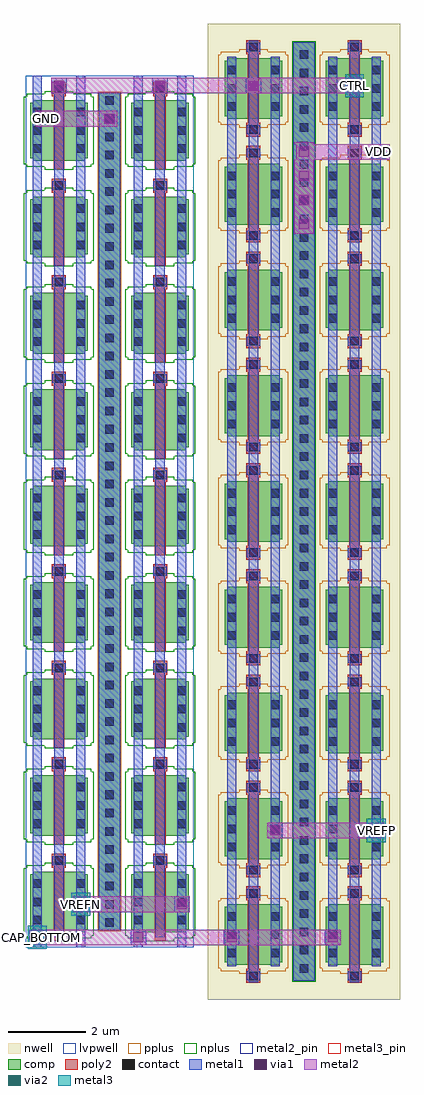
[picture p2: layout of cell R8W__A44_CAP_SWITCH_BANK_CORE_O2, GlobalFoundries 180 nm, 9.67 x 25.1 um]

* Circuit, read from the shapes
.subckt R8W__A44_CAP_SWITCH_BANK_CORE_O2 CAP_BOTTOM CTRL GND VDD VREFN VREFP
XM1 VREFN CTRL CAP_BOTTOM GND nfet_03v3 w=1.56u l=0.28u m=18
XM2 VREFP CTRL CAP_BOTTOM VDD pfet_03v3 w=1.56u l=0.28u m=18
.ends

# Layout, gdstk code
import gdstk
lib = gdstk.Library(unit=1e-6, precision=1e-09)
def R(c, l, rs):  # rectangles x0, y0, x1, y1
    for r in rs: c.add(gdstk.rectangle(r[:2], r[2:], *l))
def A(c, l, x, y, w, h, nx, ny, dx, dy):  # array of equal rectangles
    R(c, l, [(x+i*dx, y+j*dy, x+i*dx+w, y+j*dy+h) for i in range(nx) for j in range(ny)])
nwell = (21, 0)
comp = (22, 0)
poly2 = (30, 0)
pplus = (31, 0)
nplus = (32, 0)
contact = (33, 0)
metal1 = (34, 0)
via1 = (35, 0)
metal2 = (36, 0)
metal2_pin = (36, 10)
via2 = (38, 0)
metal3 = (42, 0)
metal3_pin = (42, 10)
lvpwell = (204, 0)

r8w__nfet_03v3_atey9d = lib.new_cell('R8W__nfet_03v3_ATEY9D')
A(r8w__nfet_03v3_atey9d, comp, -0.74, -10.75, 1.48, 1.42, 1, 9, 0, 2.48)
R(r8w__nfet_03v3_atey9d, comp, [(-0.675,-10.82,0.675,-10.75), (-0.675,-9.33,0.675,-9.26), (-0.675,-8.34,0.675,-8.27), (-0.675,-6.85,0.675,-6.78), (-0.675,-5.86,0.675,-5.79), (-0.675,-4.37,0.675,-4.3), (-0.675,-3.38,0.675,-3.31), (-0.675,-1.89,0.675,-1.82), (-0.675,-0.9,0.675,-0.83), (-0.675,0.59,0.675,0.66), (-0.675,1.58,0.675,1.65), (-0.675,3.07,0.675,3.14), (-0.675,4.06,0.675,4.13), (-0.675,5.55,0.675,5.62), (-0.675,6.54,0.675,6.61), (-0.675,8.03,0.675,8.1), (-0.675,9.02,0.675,9.09), (-0.675,10.51,0.675,10.58)])
A(r8w__nfet_03v3_atey9d, poly2, -0.14, -11.04, 0.28, 1.88, 1, 9, 0, 2.48)
A(r8w__nfet_03v3_atey9d, poly2, -0.18, -9.16, 0.36, 0.36, 1, 9, 0, 2.48)
A(r8w__nfet_03v3_atey9d, nplus, -0.9, -10.91, 1.8, 1.74, 1, 9, 0, 2.48)
R(r8w__nfet_03v3_atey9d, nplus, [(-0.37,-11.05,0.37,-10.98), (-0.835,-10.98,0.835,-10.91), (-0.835,-9.17,0.835,-9.1), (-0.37,-9.1,0.37,-9.03), (-0.37,-8.57,0.37,-8.5), (-0.835,-8.5,0.835,-8.43), (-0.835,-6.69,0.835,-6.62), (-0.37,-6.62,0.37,-6.55), (-0.37,-6.09,0.37,-6.02), (-0.835,-6.02,0.835,-5.95), (-0.835,-4.21,0.835,-4.14), (-0.37,-4.14,0.37,-4.07), (-0.37,-3.61,0.37,-3.54), (-0.835,-3.54,0.835,-3.47), (-0.835,-1.73,0.835,-1.66), (-0.37,-1.66,0.37,-1.59), (-0.37,-1.13,0.37,-1.06), (-0.835,-1.06,0.835,-0.99), (-0.835,0.75,0.835,0.82), (-0.37,0.82,0.37,0.89), (-0.37,1.35,0.37,1.42), (-0.835,1.42,0.835,1.49), (-0.835,3.23,0.835,3.3), (-0.37,3.3,0.37,3.37), (-0.37,3.83,0.37,3.9), (-0.835,3.9,0.835,3.97), (-0.835,5.71,0.835,5.78), (-0.37,5.78,0.37,5.85), (-0.37,6.31,0.37,6.38), (-0.835,6.38,0.835,6.45), (-0.835,8.19,0.835,8.26), (-0.37,8.26,0.37,8.33), (-0.37,8.79,0.37,8.86), (-0.835,8.86,0.835,8.93), (-0.835,10.67,0.835,10.74), (-0.37,10.74,0.37,10.81)])
A(r8w__nfet_03v3_atey9d, contact, -0.67, -10.62, 0.22, 0.22, 1, 3, 0, 0.47)
A(r8w__nfet_03v3_atey9d, contact, 0.45, -10.62, 0.22, 0.22, 1, 3, 0, 0.47)
A(r8w__nfet_03v3_atey9d, contact, -0.11, -9.09, 0.22, 0.22, 1, 9, 0, 2.48)
A(r8w__nfet_03v3_atey9d, contact, -0.67, -8.14, 0.22, 0.22, 1, 3, 0, 0.47)
A(r8w__nfet_03v3_atey9d, contact, 0.45, -8.14, 0.22, 0.22, 1, 3, 0, 0.47)
A(r8w__nfet_03v3_atey9d, contact, -0.67, -5.66, 0.22, 0.22, 1, 3, 0, 0.47)
A(r8w__nfet_03v3_atey9d, contact, 0.45, -5.66, 0.22, 0.22, 1, 3, 0, 0.47)
A(r8w__nfet_03v3_atey9d, contact, -0.67, -3.18, 0.22, 0.22, 1, 3, 0, 0.47)
A(r8w__nfet_03v3_atey9d, contact, 0.45, -3.18, 0.22, 0.22, 1, 3, 0, 0.47)
A(r8w__nfet_03v3_atey9d, contact, -0.67, -0.7, 0.22, 0.22, 1, 3, 0, 0.47)
A(r8w__nfet_03v3_atey9d, contact, 0.45, -0.7, 0.22, 0.22, 1, 3, 0, 0.47)
A(r8w__nfet_03v3_atey9d, contact, -0.67, 1.78, 0.22, 0.22, 1, 3, 0, 0.47)
A(r8w__nfet_03v3_atey9d, contact, 0.45, 1.78, 0.22, 0.22, 1, 3, 0, 0.47)
A(r8w__nfet_03v3_atey9d, contact, -0.67, 4.26, 0.22, 0.22, 1, 3, 0, 0.47)
A(r8w__nfet_03v3_atey9d, contact, 0.45, 4.26, 0.22, 0.22, 1, 3, 0, 0.47)
A(r8w__nfet_03v3_atey9d, contact, -0.67, 6.74, 0.22, 0.22, 1, 3, 0, 0.47)
A(r8w__nfet_03v3_atey9d, contact, 0.45, 6.74, 0.22, 0.22, 1, 3, 0, 0.47)
A(r8w__nfet_03v3_atey9d, contact, -0.67, 9.22, 0.22, 0.22, 1, 3, 0, 0.47)
A(r8w__nfet_03v3_atey9d, contact, 0.45, 9.22, 0.22, 0.22, 1, 3, 0, 0.47)
A(r8w__nfet_03v3_atey9d, metal1, -0.675, -10.74, 0.23, 1.4, 1, 9, 0, 2.48)
A(r8w__nfet_03v3_atey9d, metal1, 0.445, -10.74, 0.23, 1.4, 1, 9, 0, 2.48)
A(r8w__nfet_03v3_atey9d, metal1, -0.17, -9.095, 0.34, 0.23, 1, 9, 0, 2.48)
R(r8w__nfet_03v3_atey9d, lvpwell, [(-0.86,-11.16,0.86,11.16)])

r8w__a44_g6_nfet_m9_guar = lib.new_cell('R8W__A44_G6_NFET_M9_GUARD0_R0')
r8w__a44_g6_nfet_m9_guar.add(gdstk.Reference(r8w__nfet_03v3_atey9d, (0,0)))

r8w__pfet_03v3_xnc3g5 = lib.new_cell('R8W__pfet_03v3_XNC3G5')
R(r8w__pfet_03v3_xnc3g5, nwell, [(-1.17,-12.55,1.17,12.55)])
A(r8w__pfet_03v3_xnc3g5, comp, -0.74, -11.59, 1.48, 1.42, 1, 9, 0, 2.72)
R(r8w__pfet_03v3_xnc3g5, comp, [(-0.675,-11.66,0.675,-11.59), (-0.675,-10.17,0.675,-10.1), (-0.675,-8.94,0.675,-8.87), (-0.675,-7.45,0.675,-7.38), (-0.675,-6.22,0.675,-6.15), (-0.675,-4.73,0.675,-4.66), (-0.675,-3.5,0.675,-3.43), (-0.675,-2.01,0.675,-1.94), (-0.675,-0.78,0.675,-0.71), (-0.675,0.71,0.675,0.78), (-0.675,1.94,0.675,2.01), (-0.675,3.43,0.675,3.5), (-0.675,4.66,0.675,4.73), (-0.675,6.15,0.675,6.22), (-0.675,7.38,0.675,7.45), (-0.675,8.87,0.675,8.94), (-0.675,10.1,0.675,10.17), (-0.675,11.59,0.675,11.66)])
A(r8w__pfet_03v3_xnc3g5, poly2, -0.14, -11.76, 0.28, 1.76, 1, 9, 0, 2.72)
R(r8w__pfet_03v3_xnc3g5, poly2, [(-0.18,-12.12,0.18,-11.76), (-0.18,-10,0.18,-9.64), (-0.18,-9.4,0.18,-9.04), (-0.18,-7.28,0.18,-6.92), (-0.18,-6.68,0.18,-6.32), (-0.18,-4.56,0.18,-4.2), (-0.18,-3.96,0.18,-3.6), (-0.18,-1.84,0.18,-1.48), (-0.18,-1.24,0.18,-0.88), (-0.18,0.88,0.18,1.24), (-0.18,1.48,0.18,1.84), (-0.18,3.6,0.18,3.96), (-0.18,4.2,0.18,4.56), (-0.18,6.32,0.18,6.68), (-0.18,6.92,0.18,7.28), (-0.18,9.04,0.18,9.4), (-0.18,9.64,0.18,10), (-0.18,11.76,0.18,12.12)])
A(r8w__pfet_03v3_xnc3g5, pplus, -0.9, -11.75, 1.8, 1.74, 1, 9, 0, 2.72)
R(r8w__pfet_03v3_xnc3g5, pplus, [(-0.37,-11.89,0.37,-11.82), (-0.835,-11.82,0.835,-11.75), (-0.835,-10.01,0.835,-9.94), (-0.37,-9.94,0.37,-9.87), (-0.37,-9.17,0.37,-9.1), (-0.835,-9.1,0.835,-9.03), (-0.835,-7.29,0.835,-7.22), (-0.37,-7.22,0.37,-7.15), (-0.37,-6.45,0.37,-6.38), (-0.835,-6.38,0.835,-6.31), (-0.835,-4.57,0.835,-4.5), (-0.37,-4.5,0.37,-4.43), (-0.37,-3.73,0.37,-3.66), (-0.835,-3.66,0.835,-3.59), (-0.835,-1.85,0.835,-1.78), (-0.37,-1.78,0.37,-1.71), (-0.37,-1.01,0.37,-0.94), (-0.835,-0.94,0.835,-0.87), (-0.835,0.87,0.835,0.94), (-0.37,0.94,0.37,1.01), (-0.37,1.71,0.37,1.78), (-0.835,1.78,0.835,1.85), (-0.835,3.59,0.835,3.66), (-0.37,3.66,0.37,3.73), (-0.37,4.43,0.37,4.5), (-0.835,4.5,0.835,4.57), (-0.835,6.31,0.835,6.38), (-0.37,6.38,0.37,6.45), (-0.37,7.15,0.37,7.22), (-0.835,7.22,0.835,7.29), (-0.835,9.03,0.835,9.1), (-0.37,9.1,0.37,9.17), (-0.37,9.87,0.37,9.94), (-0.835,9.94,0.835,10.01), (-0.835,11.75,0.835,11.82), (-0.37,11.82,0.37,11.89)])
A(r8w__pfet_03v3_xnc3g5, contact, -0.67, -11.46, 0.22, 0.22, 1, 3, 0, 0.47)
A(r8w__pfet_03v3_xnc3g5, contact, 0.45, -11.46, 0.22, 0.22, 1, 3, 0, 0.47)
A(r8w__pfet_03v3_xnc3g5, contact, -0.67, -8.74, 0.22, 0.22, 1, 3, 0, 0.47)
A(r8w__pfet_03v3_xnc3g5, contact, 0.45, -8.74, 0.22, 0.22, 1, 3, 0, 0.47)
A(r8w__pfet_03v3_xnc3g5, contact, -0.67, -6.02, 0.22, 0.22, 1, 3, 0, 0.47)
A(r8w__pfet_03v3_xnc3g5, contact, 0.45, -6.02, 0.22, 0.22, 1, 3, 0, 0.47)
A(r8w__pfet_03v3_xnc3g5, contact, -0.67, -3.3, 0.22, 0.22, 1, 3, 0, 0.47)
A(r8w__pfet_03v3_xnc3g5, contact, 0.45, -3.3, 0.22, 0.22, 1, 3, 0, 0.47)
A(r8w__pfet_03v3_xnc3g5, contact, -0.67, -0.58, 0.22, 0.22, 1, 3, 0, 0.47)
A(r8w__pfet_03v3_xnc3g5, contact, 0.45, -0.58, 0.22, 0.22, 1, 3, 0, 0.47)
A(r8w__pfet_03v3_xnc3g5, contact, -0.67, 2.14, 0.22, 0.22, 1, 3, 0, 0.47)
A(r8w__pfet_03v3_xnc3g5, contact, 0.45, 2.14, 0.22, 0.22, 1, 3, 0, 0.47)
A(r8w__pfet_03v3_xnc3g5, contact, -0.67, 4.86, 0.22, 0.22, 1, 3, 0, 0.47)
A(r8w__pfet_03v3_xnc3g5, contact, 0.45, 4.86, 0.22, 0.22, 1, 3, 0, 0.47)
A(r8w__pfet_03v3_xnc3g5, contact, -0.67, 7.58, 0.22, 0.22, 1, 3, 0, 0.47)
A(r8w__pfet_03v3_xnc3g5, contact, 0.45, 7.58, 0.22, 0.22, 1, 3, 0, 0.47)
A(r8w__pfet_03v3_xnc3g5, contact, -0.67, 10.3, 0.22, 0.22, 1, 3, 0, 0.47)
A(r8w__pfet_03v3_xnc3g5, contact, 0.45, 10.3, 0.22, 0.22, 1, 3, 0, 0.47)
R(r8w__pfet_03v3_xnc3g5, contact, [(-0.11,-12.05,0.11,-11.83), (-0.11,-9.93,0.11,-9.71), (-0.11,-9.33,0.11,-9.11), (-0.11,-7.21,0.11,-6.99), (-0.11,-6.61,0.11,-6.39), (-0.11,-4.49,0.11,-4.27), (-0.11,-3.89,0.11,-3.67), (-0.11,-1.77,0.11,-1.55), (-0.11,-1.17,0.11,-0.95), (-0.11,0.95,0.11,1.17), (-0.11,1.55,0.11,1.77), (-0.11,3.67,0.11,3.89), (-0.11,4.27,0.11,4.49), (-0.11,6.39,0.11,6.61), (-0.11,6.99,0.11,7.21), (-0.11,9.11,0.11,9.33), (-0.11,9.71,0.11,9.93), (-0.11,11.83,0.11,12.05)])
A(r8w__pfet_03v3_xnc3g5, metal1, -0.675, -11.58, 0.23, 1.4, 1, 9, 0, 2.72)
A(r8w__pfet_03v3_xnc3g5, metal1, 0.445, -11.58, 0.23, 1.4, 1, 9, 0, 2.72)
R(r8w__pfet_03v3_xnc3g5, metal1, [(-0.17,-12.055,0.17,-11.825), (-0.17,-9.935,0.17,-9.705), (-0.17,-9.335,0.17,-9.105), (-0.17,-7.215,0.17,-6.985), (-0.17,-6.615,0.17,-6.385), (-0.17,-4.495,0.17,-4.265), (-0.17,-3.895,0.17,-3.665), (-0.17,-1.775,0.17,-1.545), (-0.17,-1.175,0.17,-0.945), (-0.17,0.945,0.17,1.175), (-0.17,1.545,0.17,1.775), (-0.17,3.665,0.17,3.895), (-0.17,4.265,0.17,4.495), (-0.17,6.385,0.17,6.615), (-0.17,6.985,0.17,7.215), (-0.17,9.105,0.17,9.335), (-0.17,9.705,0.17,9.935), (-0.17,11.825,0.17,12.055)])

r8w__a44_g6_pfet_m9_guar = lib.new_cell('R8W__A44_G6_PFET_M9_GUARD0_R0')
r8w__a44_g6_pfet_m9_guar.add(gdstk.Reference(r8w__pfet_03v3_xnc3g5, (0,0)))

r8w__a44_cap_switch_bank = lib.new_cell('R8W__A44_CAP_SWITCH_BANK_CORE_O2')
R(r8w__a44_cap_switch_bank, nwell, [(3.83,-12.55,8.77,12.55)])
R(r8w__a44_cap_switch_bank, comp, [(6.02,-12.07,6.58,12.07), (1.02,-10.77,1.58,10.77)])
R(r8w__a44_cap_switch_bank, pplus, [(0.995,-10.795,1.605,10.795)])
R(r8w__a44_cap_switch_bank, nplus, [(5.995,-12.095,6.605,12.095)])
A(r8w__a44_cap_switch_bank, contact, 6.19, -11.86, 0.22, 0.22, 1, 51, 0, 0.47)
A(r8w__a44_cap_switch_bank, contact, 1.19, -10.685, 0.22, 0.22, 1, 46, 0, 0.47)
R(r8w__a44_cap_switch_bank, metal1, [(4.88,-12.1,5.12,10.75), (7.48,-12.1,7.72,10.75), (6.02,-12.07,6.58,12.07), (4.325,-11.7,4.555,-11.15), (5.445,-11.7,5.675,-8.4), (6.925,-11.7,7.155,-11.15), (8.045,-11.7,8.275,-8.4), (-0.675,-11.2,-0.445,-11.15), (0.445,-11.2,0.675,-10.3), (1.925,-11.2,2.155,-11.15), (3.045,-11.2,3.275,-10.3), (-0.76,-11.15,-0.36,-10.75), (1.84,-11.15,2.24,-10.75), (4.24,-11.15,4.64,-10.75), (6.84,-11.15,7.24,-10.75), (-0.12,-10.95,0.12,10.75), (2.48,-10.95,2.72,10.75), (1.02,-10.77,1.58,10.77), (-0.675,-10.75,-0.445,11.2), (1.925,-10.75,2.155,11.2), (4.325,-10.75,4.555,11.7), (6.925,-10.75,7.155,11.7), (0.36,-10.3,0.76,-9.9), (2.96,-10.3,3.36,-9.9), (0.445,-9.9,0.675,11.2), (3.045,-9.9,3.275,11.2), (5.36,-8.4,5.76,-8), (7.96,-8.4,8.36,-8), (5.445,-8,5.675,11.7), (8.045,-8,8.275,11.7), (-0.2,10.75,0.2,11.15), (2.4,10.75,2.8,11.15), (4.8,10.75,5.2,11.15), (7.4,10.75,7.8,11.15), (4.88,11.15,5.12,12.1), (7.48,11.15,7.72,12.1)])
A(r8w__a44_cap_switch_bank, via1, 6.17, 7.26, 0.26, 0.26, 1, 4, 0, 0.62)
R(r8w__a44_cap_switch_bank, via1, [(-0.69,-11.08,-0.43,-10.82), (1.91,-11.08,2.17,-10.82), (4.31,-11.08,4.57,-10.82), (6.91,-11.08,7.17,-10.82), (0.43,-10.23,0.69,-9.97), (3.03,-10.23,3.29,-9.97), (5.43,-8.33,5.69,-8.07), (8.03,-8.33,8.29,-8.07), (1.17,9.97,1.43,10.23), (-0.13,10.82,0.13,11.08), (2.47,10.82,2.73,11.08), (4.87,10.82,5.13,11.08), (7.47,10.82,7.73,11.08)])
R(r8w__a44_cap_switch_bank, metal2, [(-0.76,-11.15,7.24,-10.75), (0.36,-10.3,3.36,-9.9), (5.36,-8.4,8.36,-8), (6.05,7.14,6.55,9.05), (6.1,9.05,8.5,9.45), (6.05,9.45,6.55,9.5), (-0.6,9.9,1.5,10.3), (-0.2,10.75,7.8,11.15)])
R(r8w__a44_cap_switch_bank, metal2_pin, [(8.02,9.09,8.42,9.41), (-0.52,9.94,-0.12,10.26)])
R(r8w__a44_cap_switch_bank, via2, [(-0.69,-11.08,-0.43,-10.82), (0.43,-10.23,0.69,-9.97), (8.03,-8.33,8.29,-8.07), (7.47,10.82,7.73,11.08)])
R(r8w__a44_cap_switch_bank, metal3, [(-0.8,-11.25,-0.32,-10.65), (0.32,-10.4,0.8,-9.8), (7.92,-8.5,8.4,-7.9), (7.36,10.65,7.84,11.25)])
R(r8w__a44_cap_switch_bank, metal3_pin, [(-0.76,-11.13,-0.36,-10.77), (0.36,-10.28,0.76,-9.92), (7.96,-8.38,8.36,-8.02), (7.4,10.77,7.8,11.13)])
R(r8w__a44_cap_switch_bank, lvpwell, [(-0.86,-11.2,3.46,11.2)])
r8w__a44_cap_switch_bank.add(gdstk.Reference(r8w__a44_g6_nfet_m9_guar, (2.6,0)))
r8w__a44_cap_switch_bank.add(gdstk.Reference(r8w__a44_g6_nfet_m9_guar, (0,0)))
r8w__a44_cap_switch_bank.add(gdstk.Reference(r8w__a44_g6_pfet_m9_guar, (7.6,0)))
r8w__a44_cap_switch_bank.add(gdstk.Reference(r8w__a44_g6_pfet_m9_guar, (5,0)))
r8w__a44_cap_switch_bank.add(gdstk.Label('VDD', (8.22,9.25), layer=36, texttype=10))
r8w__a44_cap_switch_bank.add(gdstk.Label('GND', (-0.32,10.1), layer=36, texttype=10))
r8w__a44_cap_switch_bank.add(gdstk.Label('VREFP', (8.16,-8.2), layer=42, texttype=10))
r8w__a44_cap_switch_bank.add(gdstk.Label('VREFN', (0.56,-10.1), layer=42, texttype=10))
r8w__a44_cap_switch_bank.add(gdstk.Label('CTRL', (7.6,10.95), layer=42, texttype=10))
r8w__a44_cap_switch_bank.add(gdstk.Label('CAP_BOTTOM', (-0.56,-10.95), layer=42, texttype=10))

lib.write_gds('R8W__A44_CAP_SWITCH_BANK_CORE_O2.gds')
